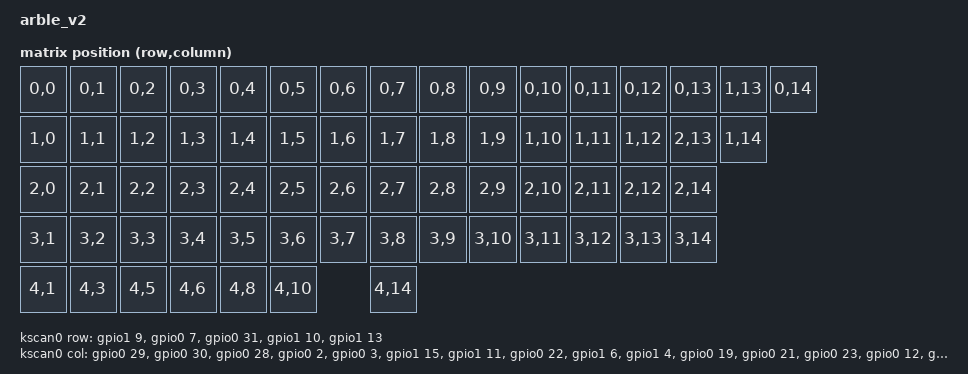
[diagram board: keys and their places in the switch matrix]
/*
 * Copyright (c) 2021 The ZMK Contributors
 *
 * SPDX-License-Identifier: MIT
 */

/dts-v1/;
#include <nordic/nrf52840_qiaa.dtsi>
#include <dt-bindings/zmk/matrix_transform.h>
#include <layouts/jaykeeb/alice_v2_hotswap.dtsi>

&alice_split_bs {
    transform = <&default_transform>;
};

/ {
    model = "arble_v2";
    compatible = "arble_v2";

    chosen {
        zephyr,code-partition = &code_partition;
        zephyr,sram = &sram0;
        zephyr,flash = &flash0;
		zephyr,console = &cdc_acm_uart;
        zmk,kscan = &kscan0;
		zmk,battery = &vbatt;
        zmk,physical-layout = &alice_split_bs;
    };


    vbatt: vbatt {
		compatible = "zmk,battery-voltage-divider";
		label = "BATTERY";
		io-channels = <&adc 2>;
		output-ohms = <2000000>;
		full-ohms = <(2000000 + 820000)>;
	};



    kscan0: kscan_0 {
        compatible = "zmk,kscan-gpio-matrix";
        label = "KSCAN";
        wakeup-source;
        diode-direction = "col2row";

        row-gpios
            = <&gpio1 9 (GPIO_ACTIVE_HIGH | GPIO_PULL_DOWN)>
            , <&gpio0 7 (GPIO_ACTIVE_HIGH | GPIO_PULL_DOWN)>
            , <&gpio0 31 (GPIO_ACTIVE_HIGH | GPIO_PULL_DOWN)>
            , <&gpio1 10 (GPIO_ACTIVE_HIGH | GPIO_PULL_DOWN)>
            , <&gpio1 13 (GPIO_ACTIVE_HIGH | GPIO_PULL_DOWN)>
            ;

        col-gpios
            = <&gpio0 29 GPIO_ACTIVE_HIGH >
            , <&gpio0 30 GPIO_ACTIVE_HIGH >
            , <&gpio0 28 GPIO_ACTIVE_HIGH >
            , <&gpio0 2 GPIO_ACTIVE_HIGH >
            , <&gpio0 3  GPIO_ACTIVE_HIGH >
            , <&gpio1 15 GPIO_ACTIVE_HIGH >
            , <&gpio1 11 GPIO_ACTIVE_HIGH >
            , <&gpio0 22 GPIO_ACTIVE_HIGH >
            , <&gpio1 6  GPIO_ACTIVE_HIGH >
            , <&gpio1 4  GPIO_ACTIVE_HIGH >
            , <&gpio0 19  GPIO_ACTIVE_HIGH >
            , <&gpio0 21  GPIO_ACTIVE_HIGH >
            , <&gpio0 23  GPIO_ACTIVE_HIGH >
            , <&gpio0 12  GPIO_ACTIVE_HIGH >
            , <&gpio1 0 GPIO_ACTIVE_HIGH >
            ;
    };

    default_transform: keymap_transform_0 {
        compatible = "zmk,matrix-transform";
        columns = <15>;
        rows = <5>;

        map = <
	     RC(0,0) RC(0,1) RC(0,2) RC(0,3) RC(0,4) RC(0,5) RC(0,6) RC(0,7) RC(0,8) RC(0,9) RC(0,10) RC(0,11) RC(0,12) RC(0,13) RC(1,13) RC(0,14)
	     RC(1,0) RC(1,1) RC(1,2) RC(1,3) RC(1,4) RC(1,5) RC(1,6) RC(1,7) RC(1,8) RC(1,9) RC(1,10) RC(1,11) RC(1,12) RC(2,13) RC(1,14) 
             RC(2,0) RC(2,1) RC(2,2) RC(2,3) RC(2,4) RC(2,5) RC(2,6) RC(2,7) RC(2,8) RC(2,9) RC(2,10) RC(2,11) RC(2,12) RC(2,14)
	     RC(3,1) RC(3,2) RC(3,3) RC(3,4) RC(3,5) RC(3,6) RC(3,7) RC(3,8) RC(3,9) RC(3,10) RC(3,11) RC(3,12) RC(3,13) RC(3,14)
             RC(4,1) RC(4,3) RC(4,5) RC(4,6) RC(4,8) RC(4,10) RC(4,14)
        >;
    };
};

&adc {
    status = "okay";
};

&gpiote {
    status = "okay";
};

&gpio0 {
    status = "okay";
};

&gpio1 {
    status = "okay";
};

&usbd {
    status = "okay";
};


&flash0 {
    /*
     * For more information, see:
     * http://docs.zephyrproject.org/latest/devices/dts/flash_partitions.html
     */
    partitions {
        compatible = "fixed-partitions";
        #address-cells = <1>;
        #size-cells = <1>;

        sd_partition: partition@0 {
            label = "mbr";
            reg = <0x00000000 0x00001000>;
        };
        code_partition: partition@1000 {
            label = "code_partition";
            reg = <0x00001000 0x000d3000>;
        };

        storage_partition: partition@d4000 {
            label = "storage";
            reg = <0x000d4000 0x00020000>;
        };

        boot_partition: partition@f4000 {
            label = "adafruit_boot";
            reg = <0x000f4000 0x0000c000>;
        };
    };
};


&usbd {
	status = "okay";
	cdc_acm_uart: cdc_acm_uart {
		compatible = "zephyr,cdc-acm-uart";
		label = "CDC_ACM_0";
	};
};

zephyr_udc0: &usbd {
    status = "okay";
};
